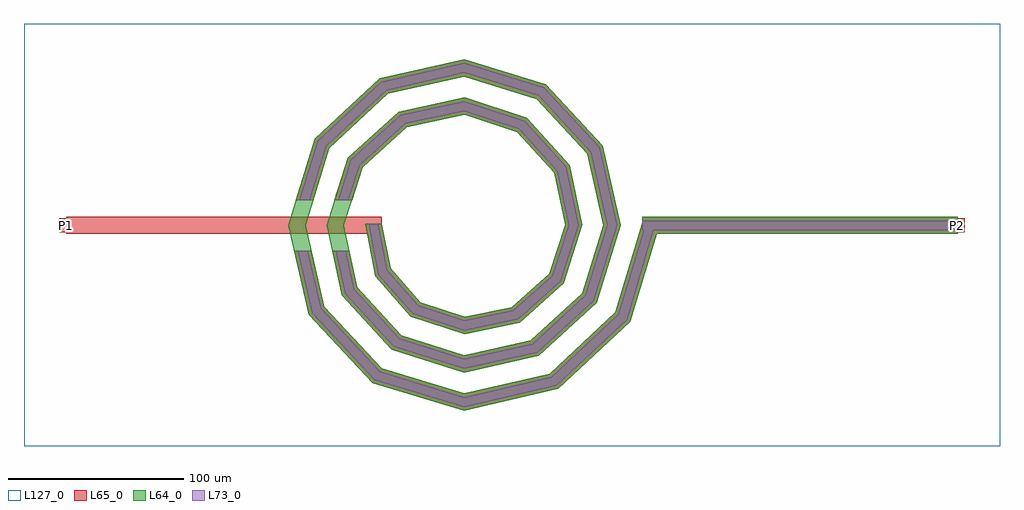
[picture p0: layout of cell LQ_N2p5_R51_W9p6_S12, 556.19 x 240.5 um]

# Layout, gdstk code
import gdstk
lib = gdstk.Library(unit=1e-6, precision=1e-09)
def R(c, l, rs):  # rectangles x0, y0, x1, y1
    for r in rs: c.add(gdstk.rectangle(r[:2], r[2:], *l))
def P(c, l, *ps):  # polygons
    for p in ps: c.add(gdstk.Polygon(p, *l))
L64_0 = (64, 0)
L65_0 = (65, 0)
L73_0 = (73, 0)
L127_0 = (127, 0)

lq_n2p5_r51_w9p6_s12 = lib.new_cell('LQ_N2p5_R51_W9p6_S12')
R(lq_n2p5_r51_w9p6_s12, L64_0, [(101.407,-4.8,281.407,4.8)])
P(lq_n2p5_r51_w9p6_s12, L64_0, [(-41.798,-24.497),(-24.869,-43.685),(0.296,-52.087),(27.201,-46.541),(48.4,-27.623),(57.547,0.27),(51.283,29.911),(30.373,53.118),(0.248,63.008),(-32.624,56.023),(-57.838,33.121),(-68.47,0.23),(-60.761,-35.339),(-35.866,-62.559),(0.214,-73.931),(38.057,-65.498),(67.282,-38.609),(79.393,0.2),(70.235,40.776),(41.351,72.005),(0.188,84.855),(-43.497,74.971),(-76.73,44.091),(-90.316,0.177),(-79.706,-46.219),(-46.831,-81.455),(0.168,-95.778),(48.942,-84.441),(86.181,-49.57),(101.613,1.391),(110.801,-1.391),(94.622,-54.817),(53.624,-93.208),(0.168,-105.712),(-52.093,-89.887),(-88.482,-50.885),(-100.25,0.177),(-85.152,49.371),(-48.145,83.757),(0.188,94.787),(46.649,80.415),(79.032,45.403),(89.325,0.2),(75.678,-43.929),(42.66,-74.308),(0.214,-83.862),(-41.21,-70.94),(-69.585,-39.916),(-78.399,0.23),(-66.201,38.493),(-37.169,64.863),(0.248,72.937),(35.779,61.46),(60.142,34.42),(67.474,0.27),(56.718,-33.067),(31.668,-55.423),(0.296,-62.01),(-30.359,-51.973),(-50.706,-28.91),(-56.293,0.94),(-46.879,0.94)])
R(lq_n2p5_r51_w9p6_s12, L65_0, [(-226.786,-4.8,-46.786,4.8), (101.407,-4.8,281.407,4.8), (-230.786,-4,-222.786,4), (277.407,-4,285.407,4)])
P(lq_n2p5_r51_w9p6_s12, L65_0, [(-79.706,-46.219),(-46.831,-81.455),(0.168,-95.778),(48.942,-84.441),(86.181,-49.57),(101.613,1.391),(110.801,-1.391),(94.622,-54.817),(53.624,-93.208),(0.168,-105.712),(-52.093,-89.887),(-88.482,-50.885),(-96.89,-14.4),(-87.039,-14.4)],
  [(-60.761,-35.339),(-35.866,-62.559),(0.214,-73.931),(38.057,-65.499),(67.282,-38.609),(79.393,0.2),(70.235,40.776),(41.351,72.005),(0.188,84.855),(-43.497,74.971),(-76.73,44.092),(-85.842,14.4),(-95.884,14.4),(-85.152,49.371),(-48.145,83.757),(0.188,94.787),(46.649,80.415),(79.032,45.403),(89.325,0.2),(75.678,-43.929),(42.66,-74.308),(0.214,-83.862),(-41.21,-70.94),(-69.585,-39.916),(-75.187,-14.4),(-65.359,-14.4)],
  [(-24.869,-43.685),(0.296,-52.087),(27.202,-46.541),(48.4,-27.623),(57.547,0.27),(51.283,29.911),(30.373,53.118),(0.248,63.009),(-32.624,56.023),(-57.838,33.121),(-63.806,14.4),(-73.882,14.4),(-66.201,38.493),(-37.169,64.863),(0.248,72.937),(35.779,61.46),(60.142,34.42),(67.474,0.27),(56.718,-33.067),(31.668,-55.423),(0.296,-62.01),(-30.359,-51.973),(-50.706,-28.911),(-56.293,0.94),(-46.879,0.94),(-41.798,-24.497)])
R(lq_n2p5_r51_w9p6_s12, L73_0, [(101.407,-2.8,281.407,2.8)])
P(lq_n2p5_r51_w9p6_s12, L73_0, [(-81.534,-47.191),(-47.927,-83.212),(0.098,-97.848),(49.917,-86.267),(87.939,-50.663),(103.527,0.812),(108.887,0.812),(92.863,-53.724),(52.648,-91.382),(0.098,-103.642),(-50.997,-88.13),(-86.654,-49.913),(-94.838,-14.4),(-89.091,-14.4)],
  [(-62.599,-36.293),(-36.979,-64.305),(0.125,-76),(39.016,-67.334),(69.031,-39.717),(81.462,0.117),(72.068,41.74),(42.455,73.758),(0.11,86.924),(-44.465,76.801),(-78.484,45.191),(-87.935,14.4),(-93.792,14.4),(-83.397,48.271),(-47.176,81.927),(0.11,92.718),(45.545,78.663),(77.2,44.439),(87.256,0.117),(73.929,-42.821),(41.701,-72.473),(0.125,-81.793),(-40.097,-69.194),(-67.747,-38.963),(-73.14,-14.4),(-67.406,-14.4)],
  [(-26.013,-45.411),(0.172,-54.154),(28.132,-48.392),(50.133,-28.757),(59.615,0.157),(53.129,30.85),(31.499,54.856),(0.145,65.077),(-33.571,57.864),(-59.58,34.24),(-65.905,14.4),(-71.783,14.4),(-64.459,37.374),(-36.222,63.021),(0.145,70.868),(34.653,59.722),(58.296,33.481),(65.406,0.157),(54.985,-31.933),(30.737,-53.573),(0.172,-59.943),(-29.215,-50.246),(-48.85,-27.991),(-54.332,0.549),(-48.841,0.549),(-43.654,-25.416)])
R(lq_n2p5_r51_w9p6_s12, L127_0, [(-250.786,-125.712,305.407,114.787)])
lq_n2p5_r51_w9p6_s12.add(gdstk.Label('P2', (281.407,0), layer=65, texttype=0))
lq_n2p5_r51_w9p6_s12.add(gdstk.Label('P1', (-226.786,0), layer=65, texttype=0))
lq_n2p5_r51_w9p6_s12.add(gdstk.Label('P2', (285.407,0), layer=145, texttype=0))
lq_n2p5_r51_w9p6_s12.add(gdstk.Label('P1', (-230.786,0), layer=145, texttype=0))

lib.write_gds('LQ_N2p5_R51_W9p6_S12.gds')
